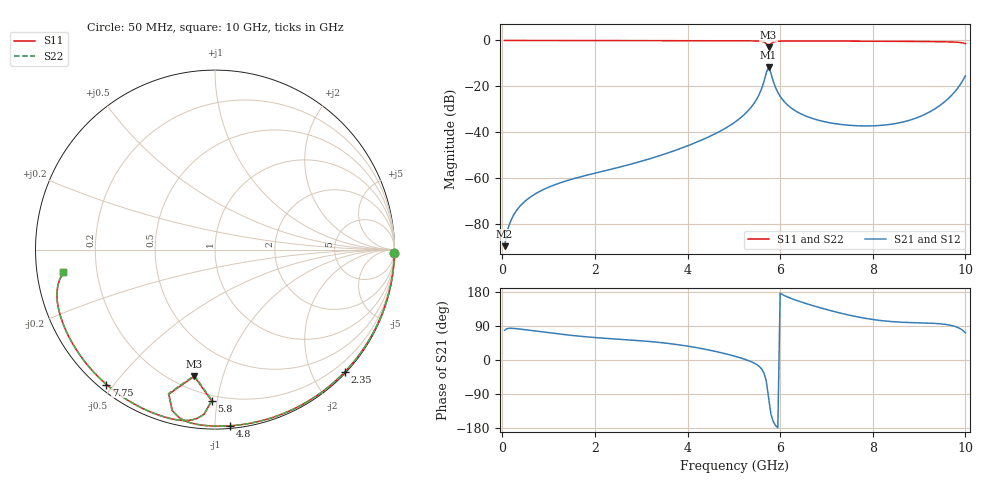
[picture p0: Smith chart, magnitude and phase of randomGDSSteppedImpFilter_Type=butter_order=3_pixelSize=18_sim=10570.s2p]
! freq	dB(S11)	phase(S11)	dB(S12)	phase(S12)
!  dB(S21)	phase(S21)	dB(S22)	phase(S22)
!S-par simulation data
#  GHz  S  DB  R 50
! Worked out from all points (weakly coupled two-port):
!   200 points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, 50 MHz to 10 GHz, reference 50 ohm
!   highest |S21| = -11.59 dB at 5.75 GHz (marker M1); lowest = -89.6 dB at 50 MHz (marker M2)
!   lowest |S11| = -2.9 dB at 5.75 GHz (marker M3), VSWR 6.02, Z = 14 - j40.5 ohm
!   |S11| at or under -10 dB: nowhere
!   |S22| runs from -3.0 to 0.0 dB; largest |S21 - S12| = 0
!   S11 on the Smith chart (normalised r, x): 50 MHz: open; 2.35 GHz: 0.02, -2.52; 4.8 GHz: 0.02, -1.09; 5.8 GHz: 0.17, -0.96; 7.75 GHz: 0.02, -0.48; 10 GHz: 0.08, -0.07
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0.05  -0.00 -0.9  -89.65 78.5  -89.65 78.5  -0.00 -0.9
0.15  -0.00 -2.8  -80.31 83.6  -80.31 83.6  -0.00 -2.8
0.35  -0.00 -6.6  -72.99 82.1  -72.99 82.1  -0.00 -6.6
0.7  -0.01 -13.1  -67.01 76.7  -67.01 76.7  -0.01 -13.1
1.75  -0.04 -32.4  -59.10 61.9  -59.10 61.9  -0.04 -32.5
2.35  -0.06 -43.2  -56.11 56.1  -56.11 56.1  -0.06 -43.2
3.4  -0.08 -61.6  -50.19 46.2  -50.19 46.2  -0.08 -61.6
4.8  -0.13 -85.2  -38.46 17.1  -38.46 17.1  -0.13 -85.2
5.05  -0.14 -89.5  -35.19 9.0  -35.19 9.0  -0.14 -89.5
5.5  -0.24 -98.7  -25.34 -12.5  -25.34 -12.5  -0.24 -98.7
5.6  -0.39 -102.2  -21.00 -23.6  -21.00 -23.6  -0.39 -102.3
5.7  -1.46 -107.7  -14.13 -55.4  -14.13 -55.4  -1.48 -107.9
5.75  -2.91 -99.3  -11.59 -99.7  -11.59 -99.7  -2.96 -99.3
5.8  -1.49 -91.3  -14.18 -142.4  -14.18 -142.4  -1.51 -91.1
5.95  -0.35 -98.2  -22.63 -179.0  -22.63 -179.0  -0.35 -98.2
6.1  -0.25 -102.1  -26.90 169.5  -26.90 169.5  -0.25 -102.1
6.7  -0.24 -112.7  -34.01 143.7  -34.01 143.7  -0.24 -112.7
7.75  -0.31 -128.8  -37.23 112.0  -37.23 112.0  -0.31 -128.9
8.35  -0.37 -137.9  -36.64 101.9  -36.64 101.9  -0.37 -138.0
9.35  -0.52 -154.1  -29.69 96.5  -29.69 96.5  -0.52 -154.2
9.75  -0.70 -162.5  -22.85 89.5  -22.85 89.5  -0.71 -162.6
10  -1.37 -171.4  -15.41 71.6  -15.41 71.6  -1.38 -171.7
